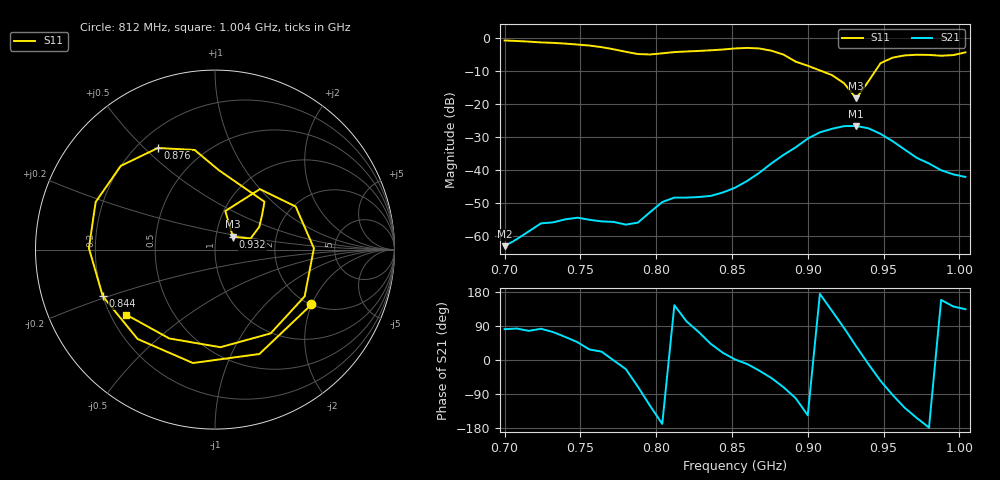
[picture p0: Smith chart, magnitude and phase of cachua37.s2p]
# Hz S RI R 50
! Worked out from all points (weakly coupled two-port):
!   39 points, 700 MHz to 1.004 GHz, reference 50 ohm
!   highest |S21| = -26.60 dB at 932 MHz (marker M1); lowest = -63.1 dB at 700 MHz (marker M2)
!   lowest |S11| = -18.2 dB at 932 MHz (marker M3), VSWR 1.28, Z = 60.4 + j8.76 ohm
!   |S11| at or under -10 dB: 909.5 MHz to 944.4 MHz (34.93 MHz wide, 3.77 % of centre)
!   S12 and S22 are empty: the file has one direction only
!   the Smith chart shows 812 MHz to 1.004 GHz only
!   S11 on the Smith chart (normalised r, x): 812 MHz: 2.01, -1.99; 844 MHz: 0.20, -0.19; 876 MHz: 0.28, +0.55; 932 MHz: 1.21, +0.18; 1.004 GHz: 0.26, -0.31
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7e8  0.7639 0.5285  0.000105 0.000692  0 0  0 0
7.24e8  0.8264 -0.2638  0.000205 0.00154  0 0  0 0
7.4e8  0.4444 -0.7039  0.000871 0.00156  0 0  0 0
7.56e8  -0.1983 -0.7512  0.00156 0.000818  0 0  0 0
7.72e8  -0.6558 -0.1866  0.00163 -3.24e-05  0 0  0 0
7.8e8  -0.58 0.232  0.00136 -0.000608  0 0  0 0
7.88e8  -0.2228 0.5328  0.000523 -0.00151  0 0  0 0
7.96e8  0.263 0.5048  -0.00119 -0.00197  0 0  0 0
8.04e8  0.5749 0.1438  -0.00321 -0.000642  0 0  0 0
8.12e8  0.5376 -0.3058  -0.00312 0.00221  0 0  0 0
8.28e8  -0.1229 -0.632  0.00108 0.00375  0 0  0 0
8.44e8  -0.6251 -0.26  0.00433 0.00148  0 0  0 0
8.52e8  -0.7026 0.008  0.0054 0.000136  0 0  0 0
8.76e8  -0.3181 0.5661  0.00853 -0.00932  0 0  0 0
9e8  0.2756 0.2667  -0.0249 -0.0169  0 0  0 0
9.08e8  0.2626 0.1935  -0.0373 0.00356  0 0  0 0
9.32e8  0.0996 0.0714  0.0379 0.0273  0 0  0 0
9.4e8  0.0574 0.215  0.0424 -0.00802  0 0  0 0
9.56e8  0.4496 0.2398  -0.00119 -0.0274  0 0  0 0
9.64e8  0.5511 0.00714  -0.0121 -0.0165  0 0  0 0
9.8e8  0.3101 -0.4669  -0.0126 -0.000387  0 0  0 0
1.004e9  -0.4937 -0.363  -0.00547 0.00566  0 0  0 0
